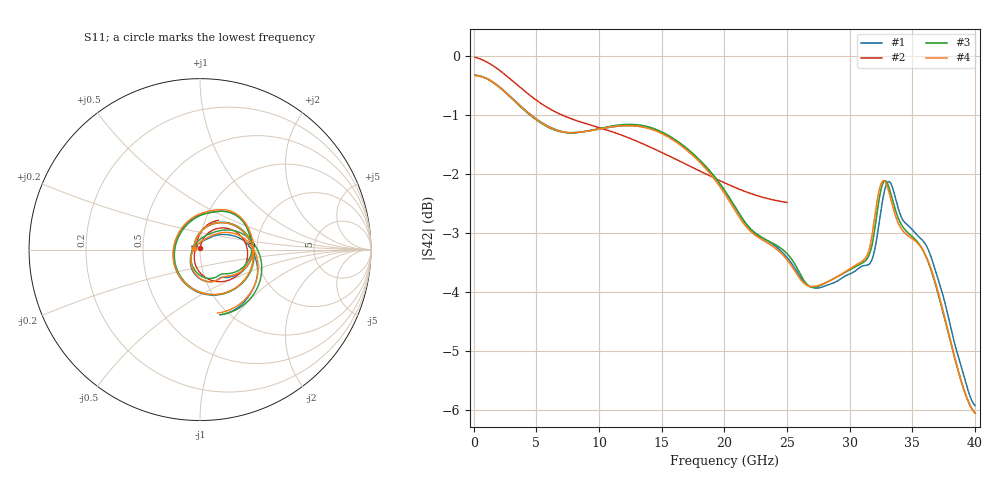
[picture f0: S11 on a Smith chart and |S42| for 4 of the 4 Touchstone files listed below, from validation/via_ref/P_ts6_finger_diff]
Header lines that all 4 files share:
# Hz S RI R 50
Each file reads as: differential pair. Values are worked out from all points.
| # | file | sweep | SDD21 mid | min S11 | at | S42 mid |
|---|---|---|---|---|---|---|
| 1 | kisi.s4p | 100 MHz to 40 GHz | -0.5 dB at 20.1 GHz | -30.1 dB | 33.6 GHz | -2.3 dB at 20.1 GHz |
| 2 | kisi_model.s4p | 100 MHz to 25 GHz | -0.8 dB at 12.6 GHz | -41.7 dB | 100 MHz | -1.4 dB at 12.6 GHz |
| 3 | openems.s4p | 100 MHz to 40 GHz | -0.6 dB at 20.1 GHz | -28.7 dB | 100 MHz | -2.3 dB at 20.1 GHz |
| 4 | openems_base.s4p | 100 MHz to 40 GHz | -0.6 dB at 20.1 GHz | -30.2 dB | 33.3 GHz | -2.4 dB at 20.1 GHz |
